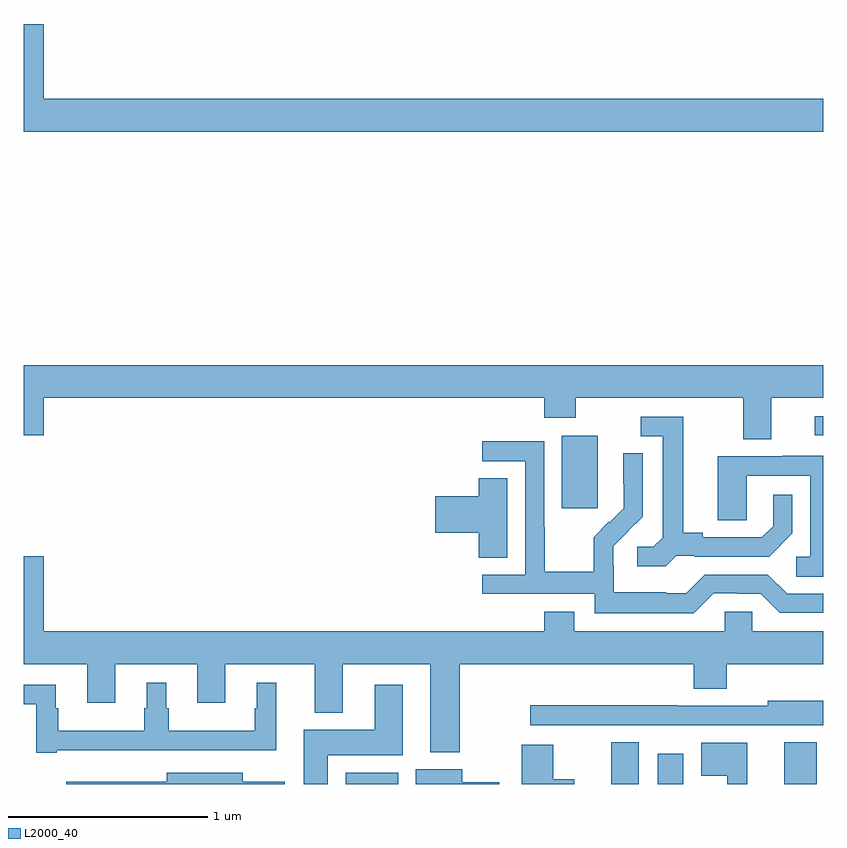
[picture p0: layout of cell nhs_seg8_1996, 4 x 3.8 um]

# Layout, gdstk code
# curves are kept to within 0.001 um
import gdstk
lib = gdstk.Library(unit=1e-6, precision=1e-09)
def R(c, l, rs):  # rectangles x0, y0, x1, y1
    for r in rs: c.add(gdstk.rectangle(r[:2], r[2:], *l))
def P(c, l, *ps):  # polygons
    for p in ps: c.add(gdstk.Polygon(p, *l))
L2000_40 = (2000, 40)

nhs_seg8_1996 = lib.new_cell('nhs_seg8_1996')
R(nhs_seg8_1996, L2000_40, [(238.61,1115.9,238.873,1115.956), (239.939,1115.9,240.076,1116.11), (240.173,1115.9,240.301,1116.052), (240.806,1115.9,240.967,1116.109), (239.693,1117.281,239.872,1117.642), (240.957,1117.644,241,1117.74)])
P(nhs_seg8_1996, L2000_40, [(241,1119.328),(237.1,1119.328),(237.1,1119.703),(237,1119.703),(237,1119.164),(241,1119.164)],
  [(240.739,1117.832),(241,1117.832),(241,1117.996),(237,1117.996),(237,1117.644),(237.1,1117.644),(237.1,1117.832),(239.603,1117.832),(239.603,1117.733),(239.763,1117.733),(239.763,1117.832),(240.599,1117.832),(240.599,1117.624),(240.739,1117.624)],
  [(240.264,1117.041),(240.358,1117.041),(240.358,1117.038),(240.73,1117.038),(240.846,1117.154),(240.846,1117.348),(240.749,1117.348),(240.749,1117.191),(240.692,1117.134),(240.397,1117.134),(240.397,1117.157),(240.301,1117.157),(240.301,1117.737),(240.087,1117.737),(240.087,1117.641),(240.197,1117.641),(240.197,1117.133),(240.15,1117.086),(240.069,1117.086),(240.069,1116.989),(240.212,1116.989)],
  [(240.453,1116.855),(240.569,1116.855),(240.569,1116.852),(240.687,1116.852),(240.783,1116.756),(241,1116.756),(241,1116.852),(240.819,1116.852),(240.723,1116.948),(240.408,1116.948),(240.315,1116.855),(240.215,1116.855),(240.215,1116.859),(239.952,1116.859),(239.952,1116.993),(239.95,1116.993),(239.95,1117.09),(240.096,1117.238),(240.096,1117.556),(240,1117.556),(240,1117.402),(240.002,1117.402),(240.002,1117.28),(239.931,1117.209),(239.928,1117.212),(239.851,1117.135),(239.851,1116.961),(239.607,1116.961),(239.607,1117.184),(239.604,1117.184),(239.604,1117.614),(239.295,1117.614),(239.295,1117.515),(239.508,1117.515),(239.508,1116.948),(239.295,1116.948),(239.295,1116.852),(239.856,1116.852),(239.856,1116.755),(240.353,1116.755)],
  [(241,1117.543),(240.797,1117.543),(240.797,1117.539),(240.473,1117.539),(240.473,1117.219),(240.618,1117.219),(240.618,1117.443),(240.936,1117.443),(240.936,1117.038),(240.864,1117.038),(240.864,1116.937),(241,1116.937)],
  [(239.419,1117.43),(239.276,1117.43),(239.276,1117.34),(239.058,1117.34),(239.058,1117.157),(239.276,1117.157),(239.276,1117.033),(239.419,1117.033)],
  [(239.181,1116.5),(240.353,1116.5),(240.353,1116.376),(240.518,1116.376),(240.518,1116.5),(241,1116.5),(241,1116.664),(240.645,1116.664),(240.645,1116.762),(240.507,1116.762),(240.507,1116.664),(239.755,1116.664),(239.755,1116.763),(239.603,1116.763),(239.603,1116.664),(237.1,1116.664),(237.1,1117.039),(237,1117.039),(237,1116.5),(237.317,1116.5),(237.317,1116.306),(237.457,1116.306),(237.457,1116.5),(237.869,1116.5),(237.869,1116.306),(238.009,1116.306),(238.009,1116.5),(238.457,1116.5),(238.457,1116.257),(238.597,1116.257),(238.597,1116.5),(239.033,1116.5),(239.033,1116.059),(239.181,1116.059)],
  [(237.166,1116.068),(237.608,1116.068),(237.608,1116.069),(238.264,1116.069),(238.264,1116.406),(238.166,1116.406),(238.166,1116.278),(238.155,1116.278),(238.155,1116.166),(237.724,1116.166),(237.724,1116.278),(237.712,1116.278),(237.712,1116.406),(237.614,1116.406),(237.614,1116.278),(237.603,1116.278),(237.603,1116.166),(237.172,1116.166),(237.172,1116.278),(237.16,1116.278),(237.16,1116.396),(237,1116.396),(237,1116.3),(237.063,1116.3),(237.063,1116.057),(237.166,1116.057)],
  [(238.522,1116.044),(238.897,1116.044),(238.897,1116.397),(238.757,1116.397),(238.757,1116.172),(238.4,1116.172),(238.4,1115.9),(238.522,1115.9)],
  [(241,1116.316),(240.723,1116.316),(240.723,1116.291),(240.269,1116.291),(240.269,1116.293),(239.535,1116.293),(239.535,1116.195),(241,1116.195)],
  [(240.62,1116.106),(240.39,1116.106),(240.39,1115.941),(240.521,1115.941),(240.521,1115.9),(240.62,1115.9)],
  [(239.755,1115.923),(239.65,1115.923),(239.65,1116.097),(239.492,1116.097),(239.492,1115.9),(239.755,1115.9)],
  [(239.38,1115.909),(239.194,1115.909),(239.194,1115.974),(238.961,1115.974),(238.961,1115.9),(239.38,1115.9)],
  [(238.306,1115.911),(238.096,1115.911),(238.096,1115.956),(237.716,1115.956),(237.716,1115.911),(237.213,1115.911),(237.213,1115.9),(238.306,1115.9)])

lib.write_gds('nhs_seg8_1996.gds')
